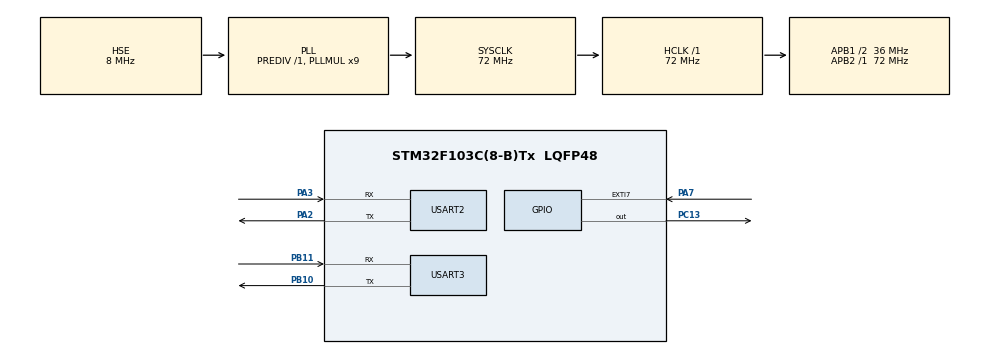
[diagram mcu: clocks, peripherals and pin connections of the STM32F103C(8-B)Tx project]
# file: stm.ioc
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Dma.Request0=USART3_RX
Dma.Request1=USART3_TX
Dma.Request2=USART2_RX
Dma.Request3=USART2_TX
Dma.USART2_RX.2.Direction=DMA_PERIPH_TO_MEMORY
Dma.USART2_RX.2.Instance=DMA1_Channel6
Dma.USART2_RX.2.MemDataAlignment=DMA_MDATAALIGN_BYTE
Dma.USART2_RX.2.MemInc=DMA_MINC_ENABLE
Dma.USART2_RX.2.Mode=DMA_CIRCULAR
Dma.USART2_RX.2.PeriphDataAlignment=DMA_PDATAALIGN_BYTE
Dma.USART2_RX.2.PeriphInc=DMA_PINC_DISABLE
Dma.USART2_RX.2.Priority=DMA_PRIORITY_LOW
Dma.USART2_TX.3.Direction=DMA_MEMORY_TO_PERIPH
Dma.USART2_TX.3.Instance=DMA1_Channel7
Dma.USART2_TX.3.MemDataAlignment=DMA_MDATAALIGN_BYTE
Dma.USART2_TX.3.MemInc=DMA_MINC_ENABLE
Dma.USART2_TX.3.Mode=DMA_CIRCULAR
Dma.USART2_TX.3.PeriphDataAlignment=DMA_PDATAALIGN_BYTE
Dma.USART2_TX.3.PeriphInc=DMA_PINC_DISABLE
Dma.USART2_TX.3.Priority=DMA_PRIORITY_LOW
Dma.USART3_RX.0.Direction=DMA_PERIPH_TO_MEMORY
Dma.USART3_RX.0.Instance=DMA1_Channel3
Dma.USART3_RX.0.MemDataAlignment=DMA_MDATAALIGN_BYTE
Dma.USART3_RX.0.MemInc=DMA_MINC_ENABLE
Dma.USART3_RX.0.Mode=DMA_CIRCULAR
Dma.USART3_RX.0.PeriphDataAlignment=DMA_PDATAALIGN_BYTE
Dma.USART3_RX.0.PeriphInc=DMA_PINC_DISABLE
Dma.USART3_RX.0.Priority=DMA_PRIORITY_LOW
Dma.USART3_TX.1.Direction=DMA_MEMORY_TO_PERIPH
Dma.USART3_TX.1.Instance=DMA1_Channel2
Dma.USART3_TX.1.MemDataAlignment=DMA_MDATAALIGN_BYTE
Dma.USART3_TX.1.MemInc=DMA_MINC_ENABLE
Dma.USART3_TX.1.Mode=DMA_CIRCULAR
Dma.USART3_TX.1.PeriphDataAlignment=DMA_PDATAALIGN_BYTE
Dma.USART3_TX.1.PeriphInc=DMA_PINC_DISABLE
Dma.USART3_TX.1.Priority=DMA_PRIORITY_LOW
Mcu.Family=STM32F1
Mcu.Name=STM32F103C(8-B)Tx
Mcu.Package=LQFP48
NVIC.DMA1_Channel2_IRQn=true\:0\:0\:false\:false\:true\:false\:true
NVIC.DMA1_Channel3_IRQn=true\:0\:0\:false\:false\:true\:false\:true
NVIC.DMA1_Channel6_IRQn=true\:0\:0\:false\:false\:true\:false\:true
NVIC.DMA1_Channel7_IRQn=true\:0\:0\:false\:false\:true\:false\:true
NVIC.EXTI9_5_IRQn=true\:0\:0\:false\:false\:true\:true\:true
NVIC.PriorityGroup=NVIC_PRIORITYGROUP_4
NVIC.TIM2_IRQn=true\:1\:0\:true\:false\:true\:true\:true
PA13.Mode=Serial_Wire
PA13.Signal=SYS_JTMS-SWDIO
PA14.Mode=Serial_Wire
PA14.Signal=SYS_JTCK-SWCLK
PA2.Mode=Asynchronous
PA2.Signal=USART2_TX
PA3.Mode=Asynchronous
PA3.Signal=USART2_RX
PA7.GPIO_ModeDefaultEXTI=GPIO_MODE_IT_RISING
PA7.GPIO_PuPd=GPIO_NOPULL
PA7.Signal=GPXTI7
PB10.Mode=Asynchronous
PB10.Signal=USART3_TX
PB11.Mode=Asynchronous
PB11.Signal=USART3_RX
PC13-TAMPER-RTC.Signal=GPIO_Output
PD0-OSC_IN.Mode=HSE-External-Oscillator
PD0-OSC_IN.Signal=RCC_OSC_IN
PD1-OSC_OUT.Mode=HSE-External-Oscillator
PD1-OSC_OUT.Signal=RCC_OSC_OUT
ProjectManager.HeapSize=0x200
ProjectManager.StackSize=0x400
ProjectManager.TargetToolchain=STM32CubeIDE
RCC.AHBFreq_Value=72000000
RCC.APB1CLKDivider=RCC_HCLK_DIV2
RCC.APB1Freq_Value=36000000
RCC.APB1TimFreq_Value=72000000
RCC.APB2Freq_Value=72000000
RCC.APB2TimFreq_Value=72000000
RCC.HCLKFreq_Value=72000000
RCC.PLLMUL=RCC_PLL_MUL9
RCC.PLLSourceVirtual=RCC_PLLSOURCE_HSE
RCC.SYSCLKFreq_VALUE=72000000
RCC.SYSCLKSource=RCC_SYSCLKSOURCE_PLLCLK
RCC.USBFreq_Value=72000000
TIM2.Period=49999
TIM2.Prescaler=143
USART2.VirtualMode=VM_ASYNC
USART3.VirtualMode=VM_ASYNC
VP_TIM2_VS_ClockSourceINT.Mode=Internal
board=custom

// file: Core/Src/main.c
/* USER CODE BEGIN Header */
/**
  ******************************************************************************
  * @file           : main.c
  * @brief          : Main program body
  ******************************************************************************
  * @attention
  *
  * <h2><center>&copy; Copyright (c) 2020 STMicroelectronics.
  * All rights reserved.</center></h2>
  *
  * This software component is licensed by ST under BSD 3-Clause license,
  * the "License"; You may not use this file except in compliance with the
  * License. You may obtain a copy of the License at:
  *                        opensource.org/licenses/BSD-3-Clause
  *
  ******************************************************************************
  */
/* USER CODE END Header */

#include "main.h"

/* USER CODE BEGIN Includes */
#define byte uint8_t
/* USER CODE END Includes */

TIM_HandleTypeDef htim2;

UART_HandleTypeDef huart2;
UART_HandleTypeDef huart3;
DMA_HandleTypeDef hdma_usart2_rx;
DMA_HandleTypeDef hdma_usart2_tx;
DMA_HandleTypeDef hdma_usart3_rx;
DMA_HandleTypeDef hdma_usart3_tx;

void SystemClock_Config(void);
static void MX_GPIO_Init(void);
static void MX_DMA_Init(void);
static void MX_USART2_UART_Init(void);
static void MX_USART3_UART_Init(void);
static void MX_TIM2_Init(void);

/* USER CODE BEGIN 0 */

byte backup_buffer[125];
int backup_length;
byte error_debug_buffer[12];
/* USER CODE END 0 */

int main(void)
{

  /* MCU Configuration--------------------------------------------------------*/

  /* Reset of all peripherals, Initializes the Flash interface and the Systick. */
  HAL_Init();

  /* Configure the system clock */
  SystemClock_Config();

  /* Initialize all configured peripherals */
  MX_GPIO_Init();
  MX_DMA_Init();
  MX_USART2_UART_Init();
  MX_USART3_UART_Init();
  MX_TIM2_Init();
  /* USER CODE BEGIN 2 */
  HAL_Delay(250);
  setup();

  /* USER CODE END 2 */

  /* Infinite loop */
  /* USER CODE BEGIN WHILE */
  while (1)
  {
	  loop();
    /* USER CODE END WHILE */

  }
}

void SystemClock_Config(void)
{
  RCC_OscInitTypeDef RCC_OscInitStruct = {0};
  RCC_ClkInitTypeDef RCC_ClkInitStruct = {0};

  /** Initializes the CPU, AHB and APB busses clocks
  */
  RCC_OscInitStruct.OscillatorType = RCC_OSCILLATORTYPE_HSE;
  RCC_OscInitStruct.HSEState = RCC_HSE_ON;
  RCC_OscInitStruct.HSEPredivValue = RCC_HSE_PREDIV_DIV1;
  RCC_OscInitStruct.HSIState = RCC_HSI_ON;
  RCC_OscInitStruct.PLL.PLLState = RCC_PLL_ON;
  RCC_OscInitStruct.PLL.PLLSource = RCC_PLLSOURCE_HSE;
  RCC_OscInitStruct.PLL.PLLMUL = RCC_PLL_MUL9;
  if (HAL_RCC_OscConfig(&RCC_OscInitStruct) != HAL_OK)
  {
    Error_Handler();
  }
  /** Initializes the CPU, AHB and APB busses clocks
  */
  RCC_ClkInitStruct.ClockType = RCC_CLOCKTYPE_HCLK|RCC_CLOCKTYPE_SYSCLK
                              |RCC_CLOCKTYPE_PCLK1|RCC_CLOCKTYPE_PCLK2;
  RCC_ClkInitStruct.SYSCLKSource = RCC_SYSCLKSOURCE_PLLCLK;
  RCC_ClkInitStruct.AHBCLKDivider = RCC_SYSCLK_DIV1;
  RCC_ClkInitStruct.APB1CLKDivider = RCC_HCLK_DIV2;
  RCC_ClkInitStruct.APB2CLKDivider = RCC_HCLK_DIV1;

  if (HAL_RCC_ClockConfig(&RCC_ClkInitStruct, FLASH_LATENCY_2) != HAL_OK)
  {
    Error_Handler();
  }
}

static void MX_TIM2_Init(void)
{

  TIM_ClockConfigTypeDef sClockSourceConfig = {0};
  TIM_MasterConfigTypeDef sMasterConfig = {0};

  htim2.Instance = TIM2;
  htim2.Init.Prescaler = 143;
  htim2.Init.CounterMode = TIM_COUNTERMODE_UP;
  htim2.Init.Period = 49999;
  htim2.Init.ClockDivision = TIM_CLOCKDIVISION_DIV1;
  htim2.Init.AutoReloadPreload = TIM_AUTORELOAD_PRELOAD_DISABLE;
  if (HAL_TIM_Base_Init(&htim2) != HAL_OK)
  {
    Error_Handler();
  }
  sClockSourceConfig.ClockSource = TIM_CLOCKSOURCE_INTERNAL;
  if (HAL_TIM_ConfigClockSource(&htim2, &sClockSourceConfig) != HAL_OK)
  {
    Error_Handler();
  }
  sMasterConfig.MasterOutputTrigger = TIM_TRGO_RESET;
  sMasterConfig.MasterSlaveMode = TIM_MASTERSLAVEMODE_DISABLE;
  if (HAL_TIMEx_MasterConfigSynchronization(&htim2, &sMasterConfig) != HAL_OK)
  {
    Error_Handler();
  }

}

static void MX_USART2_UART_Init(void)
{

  huart2.Instance = USART2;
  huart2.Init.BaudRate = 115200;
  huart2.Init.WordLength = UART_WORDLENGTH_8B;
  huart2.Init.StopBits = UART_STOPBITS_1;
  huart2.Init.Parity = UART_PARITY_NONE;
  huart2.Init.Mode = UART_MODE_TX_RX;
  huart2.Init.HwFlowCtl = UART_HWCONTROL_NONE;
  huart2.Init.OverSampling = UART_OVERSAMPLING_16;
  if (HAL_UART_Init(&huart2) != HAL_OK)
  {
    Error_Handler();
  }

}

static void MX_USART3_UART_Init(void)
{

  huart3.Instance = USART3;
  huart3.Init.BaudRate = 115200;
  huart3.Init.WordLength = UART_WORDLENGTH_8B;
  huart3.Init.StopBits = UART_STOPBITS_1;
  huart3.Init.Parity = UART_PARITY_NONE;
  huart3.Init.Mode = UART_MODE_TX_RX;
  huart3.Init.HwFlowCtl = UART_HWCONTROL_NONE;
  huart3.Init.OverSampling = UART_OVERSAMPLING_16;
  if (HAL_UART_Init(&huart3) != HAL_OK)
  {
    Error_Handler();
  }

}

static void MX_DMA_Init(void)
{

  /* DMA controller clock enable */
  __HAL_RCC_DMA1_CLK_ENABLE();

  /* DMA interrupt init */
  /* DMA1_Channel2_IRQn interrupt configuration */
  HAL_NVIC_SetPriority(DMA1_Channel2_IRQn, 0, 0);
  HAL_NVIC_EnableIRQ(DMA1_Channel2_IRQn);
  /* DMA1_Channel3_IRQn interrupt configuration */
  HAL_NVIC_SetPriority(DMA1_Channel3_IRQn, 0, 0);
  HAL_NVIC_EnableIRQ(DMA1_Channel3_IRQn);
  /* DMA1_Channel6_IRQn interrupt configuration */
  HAL_NVIC_SetPriority(DMA1_Channel6_IRQn, 0, 0);
  HAL_NVIC_EnableIRQ(DMA1_Channel6_IRQn);
  /* DMA1_Channel7_IRQn interrupt configuration */
  HAL_NVIC_SetPriority(DMA1_Channel7_IRQn, 0, 0);
  HAL_NVIC_EnableIRQ(DMA1_Channel7_IRQn);

}

static void MX_GPIO_Init(void)
{
  GPIO_InitTypeDef GPIO_InitStruct = {0};

  /* GPIO Ports Clock Enable */
  __HAL_RCC_GPIOC_CLK_ENABLE();
  __HAL_RCC_GPIOD_CLK_ENABLE();
  __HAL_RCC_GPIOA_CLK_ENABLE();
  __HAL_RCC_GPIOB_CLK_ENABLE();

  /*Configure GPIO pin Output Level */
  HAL_GPIO_WritePin(GPIOC, GPIO_PIN_13, GPIO_PIN_RESET);

  /*Configure GPIO pin : PC13 */
  GPIO_InitStruct.Pin = GPIO_PIN_13;
  GPIO_InitStruct.Mode = GPIO_MODE_OUTPUT_PP;
  GPIO_InitStruct.Pull = GPIO_NOPULL;
  GPIO_InitStruct.Speed = GPIO_SPEED_FREQ_LOW;
  HAL_GPIO_Init(GPIOC, &GPIO_InitStruct);

  /*Configure GPIO pin : PA7 */
  GPIO_InitStruct.Pin = GPIO_PIN_7;
  GPIO_InitStruct.Mode = GPIO_MODE_IT_RISING;
  GPIO_InitStruct.Pull = GPIO_NOPULL;
  HAL_GPIO_Init(GPIOA, &GPIO_InitStruct);

  /* EXTI interrupt init*/
  HAL_NVIC_SetPriority(EXTI9_5_IRQn, 0, 0);
  HAL_NVIC_EnableIRQ(EXTI9_5_IRQn);

}

/* USER CODE BEGIN 4 */
void HAL_UART_TxCpltCallback(UART_HandleTypeDef *huart)
{
  HAL_UART_AbortTransmit_IT(huart);
}
void HAL_UART_RxCpltCallback(UART_HandleTypeDef *huart)
{
  UART_CallBack(huart);
}
void HAL_GPIO_EXTI_Callback(uint16_t GPIO_Pin)
{
	GPIO_Interrupt_Callback(GPIO_Pin);
}
void HAL_TIM_PeriodElapsedCallback(TIM_HandleTypeDef *htim)
{
  if (htim->Instance == TIM2) {
	  modbus_timeout();
  }
}
/* USER CODE END 4 */

void Error_Handler(void)
{
}

/************************ (C) COPYRIGHT STMicroelectronics *****END OF FILE****/
